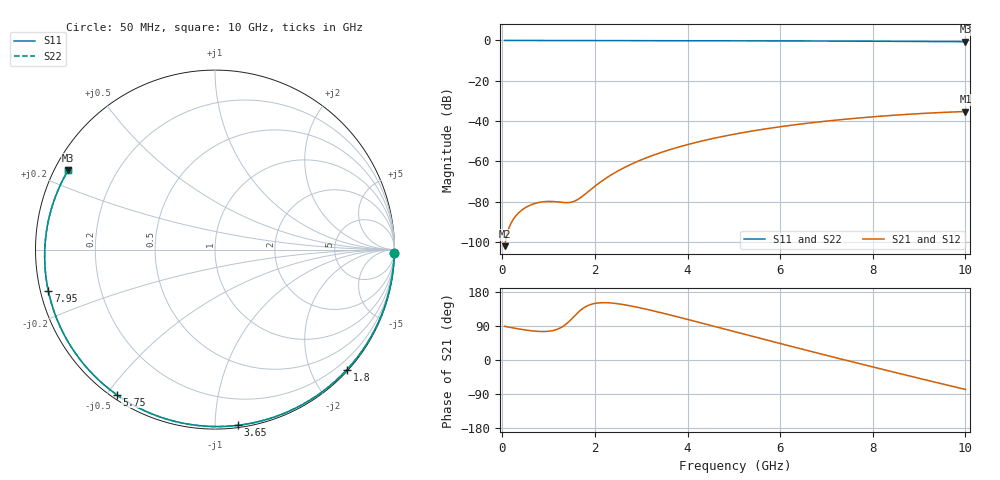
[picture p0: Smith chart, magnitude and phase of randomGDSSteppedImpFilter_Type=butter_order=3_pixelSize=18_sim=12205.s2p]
! freq	dB(S11)	phase(S11)	dB(S12)	phase(S12)
!  dB(S21)	phase(S21)	dB(S22)	phase(S22)
!S-par simulation data
#  GHz  S  DB  R 50
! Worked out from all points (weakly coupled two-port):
!   200 points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, 50 MHz to 10 GHz, reference 50 ohm
!   highest |S21| = -35.28 dB at 10 GHz (marker M1); lowest = -102.1 dB at 50 MHz (marker M2)
!   lowest |S11| = -0.6 dB at 10 GHz (marker M3), VSWR 27.57, Z = 1.93 + j12.6 ohm
!   |S11| at or under -10 dB: nowhere
!   |S22| runs from -0.6 to 0.0 dB; largest |S21 - S12| = 0
!   S11 on the Smith chart (normalised r, x): 50 MHz: 1, -98; 1.8 GHz: 0.02, -2.58; 3.65 GHz: 0.01, -1.14; 5.75 GHz: 0.02, -0.53; 7.95 GHz: 0.02, -0.12; 10 GHz: 0.04, +0.25
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0.05  -0.00 -1.2  -102.14 88.8  -102.14 88.8  -0.00 -1.2
0.75  -0.02 -17.9  -80.64 75.7  -80.64 75.7  -0.02 -17.9
1.5  -0.04 -35.4  -80.24 108.8  -80.24 108.8  -0.04 -35.4
1.6  -0.05 -37.7  -79.34 121.4  -79.34 121.4  -0.05 -37.7
1.75  -0.05 -41.2  -77.01 136.9  -77.01 136.9  -0.05 -41.1
1.8  -0.05 -42.3  -76.09 140.6  -76.09 140.6  -0.05 -42.3
2.15  -0.06 -50.2  -69.80 151.2  -69.80 151.2  -0.06 -50.2
2.5  -0.07 -58.0  -64.76 148.4  -64.76 148.4  -0.07 -58.0
2.9  -0.09 -66.7  -60.25 139.6  -60.25 139.6  -0.09 -66.7
3.4  -0.10 -77.4  -55.84 125.6  -55.84 125.6  -0.10 -77.4
3.65  -0.11 -82.6  -54.00 118.1  -54.00 118.1  -0.11 -82.6
4.35  -0.14 -96.9  -49.71 96.1  -49.71 96.1  -0.14 -96.9
5.05  -0.17 -110.7  -46.36 73.7  -46.36 73.7  -0.17 -110.7
5.75  -0.21 -124.2  -43.68 51.4  -43.68 51.4  -0.21 -124.2
6.7  -0.27 -142.2  -40.80 21.6  -40.80 21.6  -0.27 -142.2
7.35  -0.33 -154.5  -39.23 1.5  -39.23 1.5  -0.33 -154.5
7.95  -0.38 -166.0  -38.01 -16.8  -38.01 -16.8  -0.38 -166.0
8.35  -0.43 -173.8  -37.30 -28.9  -37.30 -28.9  -0.43 -173.8
8.8  -0.48 177.2  -36.61 -42.4  -36.61 -42.4  -0.48 177.1
9.2  -0.53 169.0  -36.08 -54.3  -36.08 -54.3  -0.53 168.9
9.6  -0.58 160.5  -35.64 -66.0  -35.64 -66.0  -0.58 160.4
10  -0.63 151.7  -35.28 -77.7  -35.28 -77.7  -0.63 151.6
